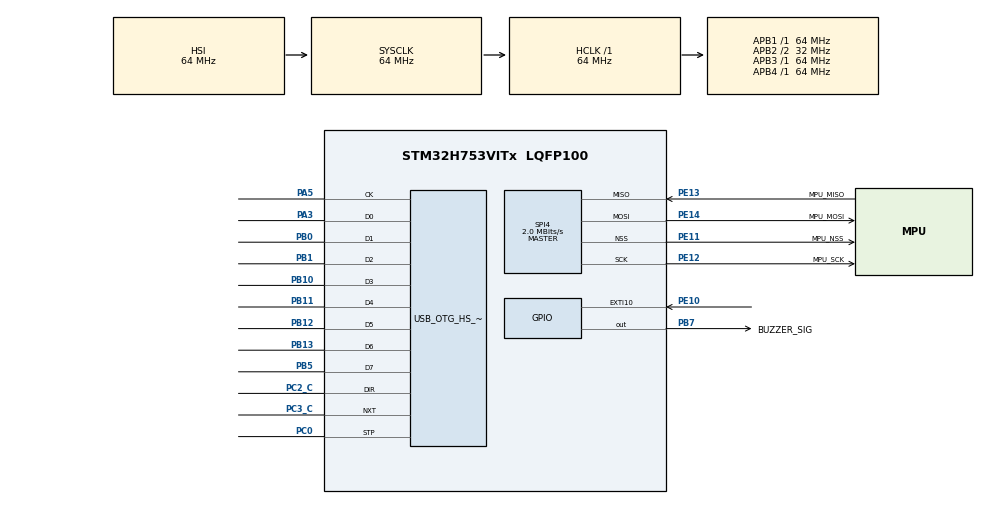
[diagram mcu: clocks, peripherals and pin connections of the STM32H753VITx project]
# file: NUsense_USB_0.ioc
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Mcu.Family=STM32H7
Mcu.Name=STM32H753VITx
Mcu.Package=LQFP100
NVIC.EXTI15_10_IRQn=true\:0\:0\:false\:false\:true\:true\:true\:true
NVIC.OTG_HS_IRQn=true\:0\:0\:false\:false\:true\:false\:true\:true
NVIC.PriorityGroup=NVIC_PRIORITYGROUP_4
NVIC.SPI4_IRQn=true\:0\:0\:false\:false\:true\:true\:true\:true
PA13\ (JTMS/SWDIO).Mode=Serial_Wire
PA13\ (JTMS/SWDIO).Signal=DEBUG_JTMS-SWDIO
PA14\ (JTCK/SWCLK).Mode=Serial_Wire
PA14\ (JTCK/SWCLK).Signal=DEBUG_JTCK-SWCLK
PA3.Mode=Device_HS
PA3.Signal=USB_OTG_HS_ULPI_D0
PA5.Mode=Device_HS
PA5.Signal=USB_OTG_HS_ULPI_CK
PB0.Mode=Device_HS
PB0.Signal=USB_OTG_HS_ULPI_D1
PB1.Mode=Device_HS
PB1.Signal=USB_OTG_HS_ULPI_D2
PB10.Mode=Device_HS
PB10.Signal=USB_OTG_HS_ULPI_D3
PB11.Mode=Device_HS
PB11.Signal=USB_OTG_HS_ULPI_D4
PB12.Mode=Device_HS
PB12.Signal=USB_OTG_HS_ULPI_D5
PB13.Mode=Device_HS
PB13.Signal=USB_OTG_HS_ULPI_D6
PB5.Mode=Device_HS
PB5.Signal=USB_OTG_HS_ULPI_D7
PB7.GPIO_Label=BUZZER_SIG
PB7.PinState=GPIO_PIN_SET
PB7.Signal=GPIO_Output
PC0.Mode=Device_HS
PC0.Signal=USB_OTG_HS_ULPI_STP
PC2_C.Mode=Device_HS
PC2_C.Signal=USB_OTG_HS_ULPI_DIR
PC3_C.Mode=Device_HS
PC3_C.Signal=USB_OTG_HS_ULPI_NXT
PE10.Signal=GPXTI10
PE11.GPIO_Label=MPU_NSS
PE11.Mode=NSS_Signal_Hard_Output
PE11.Signal=SPI4_NSS
PE12.GPIO_Label=MPU_SCK
PE12.Mode=Full_Duplex_Master
PE12.Signal=SPI4_SCK
PE13.GPIO_Label=MPU_MISO
PE13.Mode=Full_Duplex_Master
PE13.Signal=SPI4_MISO
PE14.GPIO_Label=MPU_MOSI
PE14.Mode=Full_Duplex_Master
PE14.Signal=SPI4_MOSI
ProjectManager.HeapSize=0x200
ProjectManager.StackSize=0x400
ProjectManager.TargetToolchain=STM32CubeIDE
RCC.ADCFreq_Value=129000000
RCC.APB1Freq_Value=64000000
RCC.APB2Freq_Value=32000000
RCC.APB3Freq_Value=64000000
RCC.APB4Freq_Value=64000000
RCC.CortexFreq_Value=64000000
RCC.D2PPRE2=RCC_APB2_DIV2
RCC.HCLKFreq_Value=64000000
RCC.SYSCLKFreq_VALUE=64000000
RCC.USBCLockSelection=RCC_USBCLKSOURCE_HSI48
RCC.USBFreq_Value=48000000
SPI4.BaudRatePrescaler=SPI_BAUDRATEPRESCALER_16
SPI4.CLKPhase=SPI_PHASE_2EDGE
SPI4.CLKPolarity=SPI_POLARITY_HIGH
SPI4.CalculateBaudRate=2.0 MBits/s
SPI4.DataSize=SPI_DATASIZE_8BIT
SPI4.Direction=SPI_DIRECTION_2LINES
SPI4.Mode=SPI_MODE_MASTER
SPI4.TIMode=SPI_TIMODE_DISABLE
SPI4.VirtualNSS=VM_NSSHARD
SPI4.VirtualType=VM_MASTER
USB_DEVICE.CLASS_NAME_HS=CDC
USB_DEVICE.VirtualMode-CDC_HS=Cdc
USB_DEVICE.VirtualModeHS=Cdc_HS
USB_OTG_HS.VirtualMode-Device_HS=Device_HS
VP_USB_DEVICE_VS_USB_DEVICE_CDC_HS.Mode=CDC_HS
board=custom

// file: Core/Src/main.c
/* USER CODE BEGIN Header */
/**
  ******************************************************************************
  * @file           : main.c
  * @brief          : Main program body
  ******************************************************************************
  * @attention
  *
  * Copyright (c) 2022 STMicroelectronics.
  * All rights reserved.
  *
  * This software is licensed under terms that can be found in the LICENSE file
  * in the root directory of this software component.
  * If no LICENSE file comes with this software, it is provided AS-IS.
  *
  ******************************************************************************
  */
/* USER CODE END Header */
#include "main.h"
#include "spi.h"
#include "usb_device.h"
#include "gpio.h"

/* USER CODE BEGIN Includes */
#include "usbd_cdc_if.h"
#include "imu.h"

/* USER CODE END Includes */

/* USER CODE BEGIN PV */
uint8_t SPI_flag, INT_flag;

/* USER CODE END PV */

void SystemClock_Config(void);

int main(void)
{
  /* USER CODE BEGIN 1 */
	SPI_flag = 0; INT_flag = 0;

  /* USER CODE END 1 */

  /* MCU Configuration--------------------------------------------------------*/

  /* Reset of all peripherals, Initializes the Flash interface and the Systick. */
  HAL_Init();

  /* Configure the system clock */
  SystemClock_Config();

  /* Initialize all configured peripherals */
  MX_GPIO_Init();
  MX_USB_DEVICE_Init();
  MX_SPI4_Init();
  /* USER CODE BEGIN 2 */

  NUfsr_IMU_Init();

  //Confirm that the programme is running.
  HAL_GPIO_WritePin(BUZZER_SIG_GPIO_Port, BUZZER_SIG_Pin, GPIO_PIN_SET);
  HAL_Delay(500);
  HAL_GPIO_WritePin(BUZZER_SIG_GPIO_Port, BUZZER_SIG_Pin, GPIO_PIN_RESET);

  //Declare some variables.
  struct IMURawData raw_data;
  uint8_t read_buffer[16] = {
	  WHO_AM_I 		| IMU_READ,
	  ACCEL_XOUT_H 	| IMU_READ,
	  ACCEL_XOUT_L 	| IMU_READ,
	  ACCEL_YOUT_H 	| IMU_READ,
	  ACCEL_YOUT_L 	| IMU_READ,
	  ACCEL_ZOUT_H 	| IMU_READ,
	  ACCEL_ZOUT_L 	| IMU_READ,
	  TEMP_OUT_H 	| IMU_READ,
	  TEMP_OUT_L 	| IMU_READ,
	  GYRO_XOUT_H 	| IMU_READ,
	  GYRO_XOUT_L 	| IMU_READ,
	  GYRO_YOUT_H 	| IMU_READ,
	  GYRO_YOUT_L 	| IMU_READ,
	  GYRO_ZOUT_H 	| IMU_READ,
	  GYRO_ZOUT_L 	| IMU_READ,
	  0x00
  };
  uint8_t reset_buffer[2] = {INT_STATUS | IMU_READ, 0x00};
  char str_buffer[64];

  /* USER CODE END 2 */

  /* Infinite loop */
  /* USER CODE BEGIN WHILE */
  //Wait for five seconds as a buffer.
  HAL_Delay(5000);

  //Send the first packet.
  NUfsr_IMU_TransmitReceive_IT(read_buffer, (uint8_t*)&raw_data, 16);

  while (1)
  {
    /* USER CODE END WHILE */

    /* USER CODE BEGIN 3 */

	  //If a packet has been received, then parse it.
	  if (SPI_flag == 1) {
		  sprintf(str_buffer,
				  "%x\t"
				  "%d\t%d\t%d\t"
				  "%d\t%d\t%d\t"
				  "%d\t"
				  "%d\r\n",
				  raw_data.ID,
				  raw_data.accelerometer.x,raw_data.accelerometer.y,raw_data.accelerometer.z,
				  raw_data.gyroscope.x,raw_data.gyroscope.y,raw_data.gyroscope.z,
				  raw_data.temperature,
				  INT_flag);
		  CDC_Transmit_HS((uint8_t*)str_buffer, strlen(str_buffer));
		  NUfsr_IMU_TransmitReceive_IT(read_buffer, (uint8_t*)&raw_data, 16);

		  NUfsr_IMU_BlockingTransmit(reset_buffer, 2);

		  //Reset the flags.
		  SPI_flag = 0;
		  INT_flag = 0;
	  }

	  //Wait for one second and repeat.
	  HAL_Delay(1000);
  }
  /* USER CODE END 3 */
}

void SystemClock_Config(void)
{
  RCC_OscInitTypeDef RCC_OscInitStruct = {0};
  RCC_ClkInitTypeDef RCC_ClkInitStruct = {0};

  /** Supply configuration update enable
  */
  HAL_PWREx_ConfigSupply(PWR_LDO_SUPPLY);

  /** Configure the main internal regulator output voltage
  */
  __HAL_PWR_VOLTAGESCALING_CONFIG(PWR_REGULATOR_VOLTAGE_SCALE3);

  while(!__HAL_PWR_GET_FLAG(PWR_FLAG_VOSRDY)) {}

  /** Initializes the RCC Oscillators according to the specified parameters
  * in the RCC_OscInitTypeDef structure.
  */
  RCC_OscInitStruct.OscillatorType = RCC_OSCILLATORTYPE_HSI48|RCC_OSCILLATORTYPE_HSI;
  RCC_OscInitStruct.HSIState = RCC_HSI_DIV1;
  RCC_OscInitStruct.HSICalibrationValue = RCC_HSICALIBRATION_DEFAULT;
  RCC_OscInitStruct.HSI48State = RCC_HSI48_ON;
  RCC_OscInitStruct.PLL.PLLState = RCC_PLL_NONE;
  if (HAL_RCC_OscConfig(&RCC_OscInitStruct) != HAL_OK)
  {
    Error_Handler();
  }

  /** Initializes the CPU, AHB and APB buses clocks
  */
  RCC_ClkInitStruct.ClockType = RCC_CLOCKTYPE_HCLK|RCC_CLOCKTYPE_SYSCLK
                              |RCC_CLOCKTYPE_PCLK1|RCC_CLOCKTYPE_PCLK2
                              |RCC_CLOCKTYPE_D3PCLK1|RCC_CLOCKTYPE_D1PCLK1;
  RCC_ClkInitStruct.SYSCLKSource = RCC_SYSCLKSOURCE_HSI;
  RCC_ClkInitStruct.SYSCLKDivider = RCC_SYSCLK_DIV1;
  RCC_ClkInitStruct.AHBCLKDivider = RCC_HCLK_DIV1;
  RCC_ClkInitStruct.APB3CLKDivider = RCC_APB3_DIV1;
  RCC_ClkInitStruct.APB1CLKDivider = RCC_APB1_DIV1;
  RCC_ClkInitStruct.APB2CLKDivider = RCC_APB2_DIV2;
  RCC_ClkInitStruct.APB4CLKDivider = RCC_APB4_DIV1;

  if (HAL_RCC_ClockConfig(&RCC_ClkInitStruct, FLASH_LATENCY_1) != HAL_OK)
  {
    Error_Handler();
  }
}

/* USER CODE BEGIN 4 */

void HAL_GPIO_EXTI_Callback(uint16_t GPIO_Pin)
{
	if (GPIO_Pin == GPIO_PIN_10)
		INT_flag = 1;
}

/* USER CODE END 4 */

void Error_Handler(void)
{
  __disable_irq();
  while (1)
  {
  }
}
